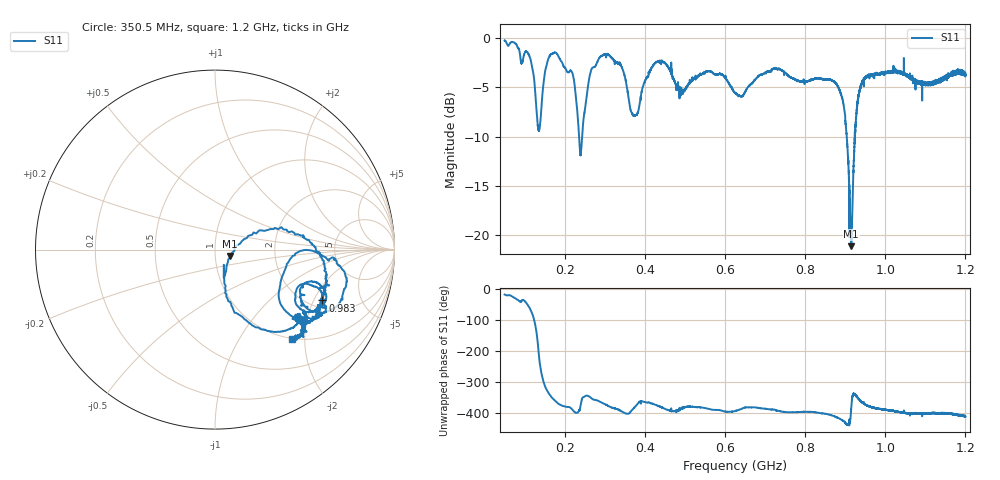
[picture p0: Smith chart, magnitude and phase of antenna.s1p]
! Calibrated high-resolution NanoVNA antenna measurement
# Hz S RI R 50
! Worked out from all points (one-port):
!   40001 points, 50 MHz to 1.2 GHz, reference 50 ohm
!   lowest |S11| = -21.1 dB at 915.1 MHz (marker M1), VSWR 1.19, Z = 58.6 - j4.13 ohm
!   |S11| at or under -10 dB: 236.1 MHz to 243.6 MHz (7.503 MHz wide, 3.13 % of centre); 904 MHz to 924 MHz (20.02 MHz wide, 2.19 % of centre); 924.0146 MHz to 924.1154 MHz (100.7 kHz wide, 0.0109 % of centre)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
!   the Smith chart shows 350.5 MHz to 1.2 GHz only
!   S11 on the Smith chart (normalised r, x): 350.5 MHz: 1.44, -1.91; 983 MHz: 2.33, -2.35; 1.2 GHz: 0.93, -1.73
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5e7  0.9182 -0.3147
1.018362e8  0.6295 -0.5676
1.1578e8  0.2495 -0.7212
1.312762e8  -0.3577 -0.1497
1.398725e8  -0.0835 0.3805
1.480375e8  0.3258 0.5158
1.665525e8  0.8072 0.1867
1.9375e8  0.7224 -0.1956
2.242538e8  0.4814 -0.337
2.373925e8  0.2461 -0.1348
2.591562e8  0.5662 0.1606
2.942312e8  0.8091 -0.0919
3.375e8  0.6393 -0.3653
3.504662e8  0.4919 -0.3973
3.908025e8  0.5186 -0.00184
4.295e8  0.7348 -0.1792
4.8125e8  0.4809 -0.2796
5.52435e8  0.62 -0.2663
6.25e8  0.4461 -0.2804
7.6875e8  0.506 -0.3654
8.83635e8  0.3203 -0.4568
9.00195e8  0.1188 -0.3611
9.125e8  0.0658 -0.102
9.150875e8  0.0809 -0.035
9.356438e8  0.5329 0.0321
9.830238e8  0.5984 -0.2831
1.05625e9  0.4973 -0.4093
1.2e9  0.4262 -0.5146
